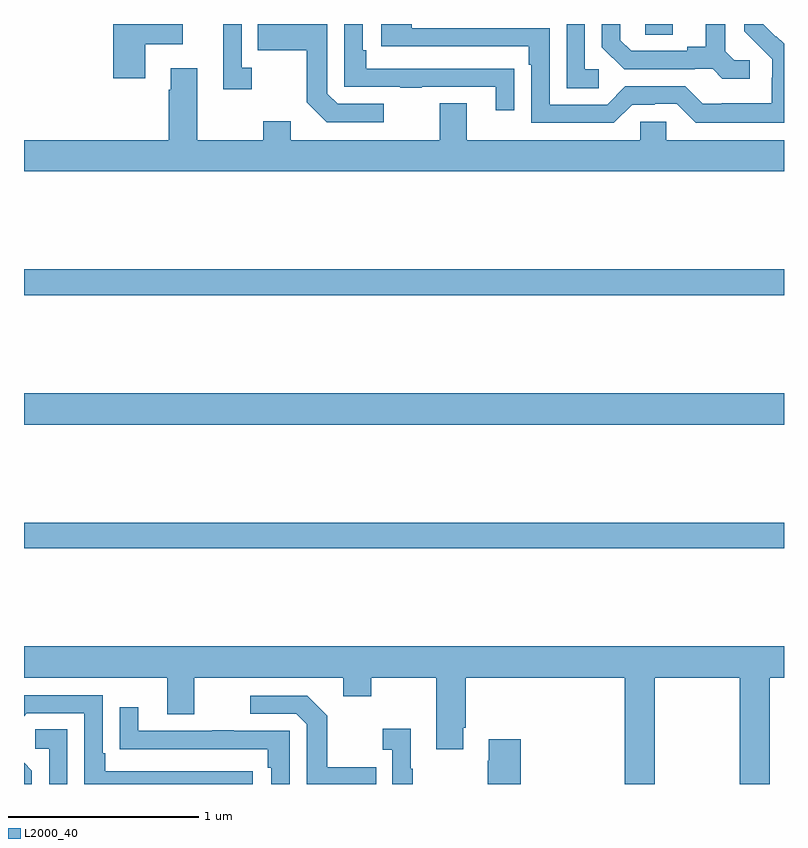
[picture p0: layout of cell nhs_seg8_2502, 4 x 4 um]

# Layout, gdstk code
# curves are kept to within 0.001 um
import gdstk
lib = gdstk.Library(unit=1e-6, precision=1e-09)
def R(c, l, rs):  # rectangles x0, y0, x1, y1
    for r in rs: c.add(gdstk.rectangle(r[:2], r[2:], *l))
def P(c, l, *ps):  # polygons
    for p in ps: c.add(gdstk.Polygon(p, *l))
L2000_40 = (2000, 40)

nhs_seg8_2502 = lib.new_cell('nhs_seg8_2502')
R(nhs_seg8_2502, L2000_40, [(267,1157.14,271,1157.276), (267,1157.792,271,1157.956), (267,1158.472,271,1158.608), (270.27,1159.843,270.415,1159.9)])
P(nhs_seg8_2502, L2000_40, [(267.637,1159.793),(267.835,1159.793),(267.835,1159.9),(267.47,1159.9),(267.47,1159.614),(267.637,1159.614)],
  [(270.82,1159.71),(270.738,1159.71),(270.691,1159.757),(270.691,1159.9),(270.587,1159.9),(270.587,1159.781),(270.491,1159.781),(270.491,1159.758),(270.196,1159.758),(270.139,1159.815),(270.139,1159.9),(270.042,1159.9),(270.042,1159.778),(270.158,1159.662),(270.53,1159.662),(270.53,1159.665),(270.624,1159.665),(270.676,1159.613),(270.82,1159.613)],
  [(271,1159.796),(270.96,1159.836),(270.957,1159.833),(270.891,1159.9),(270.792,1159.9),(270.792,1159.862),(270.938,1159.714),(270.938,1159.617),(270.936,1159.617),(270.936,1159.483),(270.673,1159.483),(270.673,1159.479),(270.573,1159.479),(270.48,1159.572),(270.165,1159.572),(270.069,1159.476),(269.766,1159.476),(269.766,1159.878),(269.042,1159.878),(269.042,1159.9),(268.881,1159.9),(268.881,1159.782),(269.657,1159.782),(269.657,1159.685),(269.67,1159.685),(269.67,1159.38),(270.105,1159.38),(270.201,1159.476),(270.32,1159.476),(270.32,1159.479),(270.435,1159.479),(270.535,1159.379),(271,1159.379)],
  [(268.894,1159.479),(268.65,1159.479),(268.596,1159.533),(268.596,1159.9),(268.231,1159.9),(268.231,1159.762),(268.488,1159.762),(268.488,1159.489),(268.593,1159.383),(268.894,1159.383)],
  [(269.579,1159.664),(269.477,1159.664),(269.477,1159.665),(268.802,1159.665),(268.802,1159.762),(268.782,1159.762),(268.782,1159.9),(268.686,1159.9),(268.686,1159.569),(268.981,1159.569),(268.981,1159.564),(269.093,1159.564),(269.093,1159.569),(269.483,1159.569),(269.483,1159.446),(269.579,1159.446)],
  [(268.198,1159.67),(268.146,1159.67),(268.146,1159.9),(268.049,1159.9),(268.049,1159.557),(268.198,1159.557)],
  [(270.025,1159.662),(269.952,1159.662),(269.952,1159.9),(269.856,1159.9),(269.856,1159.561),(270.025,1159.561)],
  [(271,1159.288),(270.381,1159.288),(270.381,1159.386),(270.243,1159.386),(270.243,1159.288),(269.329,1159.288),(269.329,1159.483),(269.189,1159.483),(269.189,1159.288),(268.405,1159.288),(268.405,1159.387),(268.258,1159.387),(268.258,1159.288),(267.913,1159.288),(267.913,1159.666),(267.773,1159.666),(267.773,1159.553),(267.761,1159.553),(267.761,1159.288),(267,1159.288),(267,1159.124),(271,1159.124)],
  [(267,1156.46),(267.755,1156.46),(267.755,1156.266),(267.895,1156.266),(267.895,1156.46),(268.679,1156.46),(268.679,1156.361),(268.827,1156.361),(268.827,1156.46),(269.171,1156.46),(269.171,1156.083),(269.311,1156.083),(269.311,1156.195),(269.324,1156.195),(269.324,1156.46),(270.161,1156.46),(270.161,1155.9),(270.321,1155.9),(270.321,1156.46),(270.766,1156.46),(270.766,1155.9),(270.926,1155.9),(270.926,1156.46),(271,1156.46),(271,1156.624),(267,1156.624)],
  [(268.204,1155.966),(267.427,1155.966),(267.427,1156.063),(267.414,1156.063),(267.414,1156.368),(267,1156.368),(267,1156.257),(267.015,1156.272),(267.318,1156.272),(267.318,1155.9),(268.204,1155.9)],
  [(268.853,1155.987),(268.597,1155.987),(268.597,1156.259),(268.491,1156.365),(268.191,1156.365),(268.191,1156.269),(268.434,1156.269),(268.488,1156.215),(268.488,1155.9),(268.853,1155.9)],
  [(268.398,1156.179),(268.103,1156.179),(268.103,1156.184),(267.991,1156.184),(267.991,1156.179),(267.601,1156.179),(267.601,1156.303),(267.505,1156.303),(267.505,1156.084),(267.607,1156.084),(267.607,1156.083),(268.282,1156.083),(268.282,1155.986),(268.302,1155.986),(268.302,1155.9),(268.398,1155.9)],
  [(269.047,1155.979),(269.035,1155.979),(269.035,1156.192),(268.887,1156.192),(268.887,1156.079),(268.938,1156.079),(268.938,1155.9),(269.047,1155.9)],
  [(267.228,1156.187),(267.06,1156.187),(267.06,1156.086),(267.132,1156.086),(267.132,1155.9),(267.228,1155.9)],
  [(269.615,1156.135),(269.447,1156.135),(269.447,1156.022),(269.44,1156.022),(269.44,1155.9),(269.615,1155.9)],
  [(267.042,1155.97),(267,1156.012),(267,1155.9),(267.042,1155.9)])

lib.write_gds('nhs_seg8_2502.gds')
